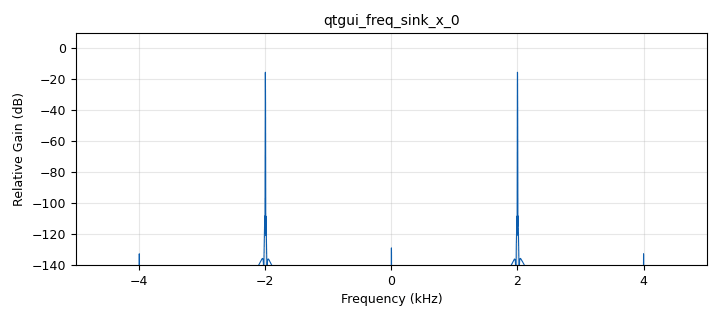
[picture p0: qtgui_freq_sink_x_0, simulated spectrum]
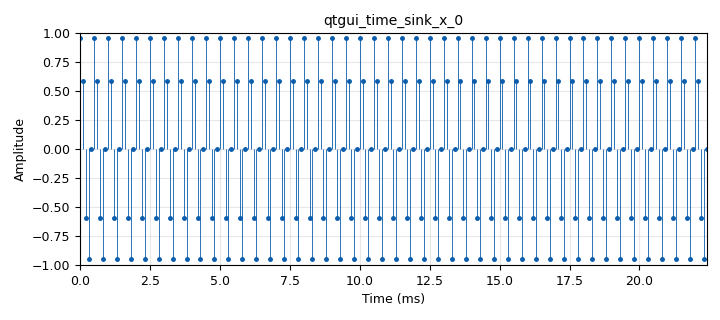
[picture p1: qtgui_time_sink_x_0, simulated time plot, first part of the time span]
options:
  parameters:
    author: Piedritas
    copyright: '2022'
    description: Sample rate demo
    generate_options: qt_gui
    id: Fico
    output_language: python
    title: Sample Rate Demo
  states: {}

blocks:
- name: freq
  id: variable_qtgui_range
  parameters:
    label: Frequency
    start: '1000'
    step: '1000'
    stop: '40000'
    value: '2000'
  states: {}
- name: samp_rate
  id: variable_qtgui_range
  parameters:
    start: 1e3
    step: 1e3
    stop: 160e3
    value: 10e3
  states: {}
- name: analog_sig_source_x_0
  id: analog_sig_source_x
  parameters:
    amp: '1'
    freq: freq
    offset: '0'
    phase: '0'
    samp_rate: samp_rate
    type: float
    waveform: analog.GR_SIN_WAVE
  states: {}
- name: blocks_throttle_0
  id: blocks_throttle
  parameters:
    samples_per_second: samp_rate
    type: float
  states: {}
- name: qtgui_freq_sink_x_0
  id: qtgui_freq_sink_x
  parameters:
    bw: samp_rate
    fc: '0'
    fftsize: '8192'
    type: float
  states: {}
- name: qtgui_time_sink_x_0
  id: qtgui_time_sink_x
  parameters:
    size: '1024'
    srate: samp_rate
    stemplot: 'True'
    type: float
  states: {}

connections:
- [analog_sig_source_x_0, '0', blocks_throttle_0, '0']
- [blocks_throttle_0, '0', qtgui_freq_sink_x_0, '0']
- [blocks_throttle_0, '0', qtgui_time_sink_x_0, '0']

metadata:
  file_format: 1
  grc_version: 3.10.2.0
